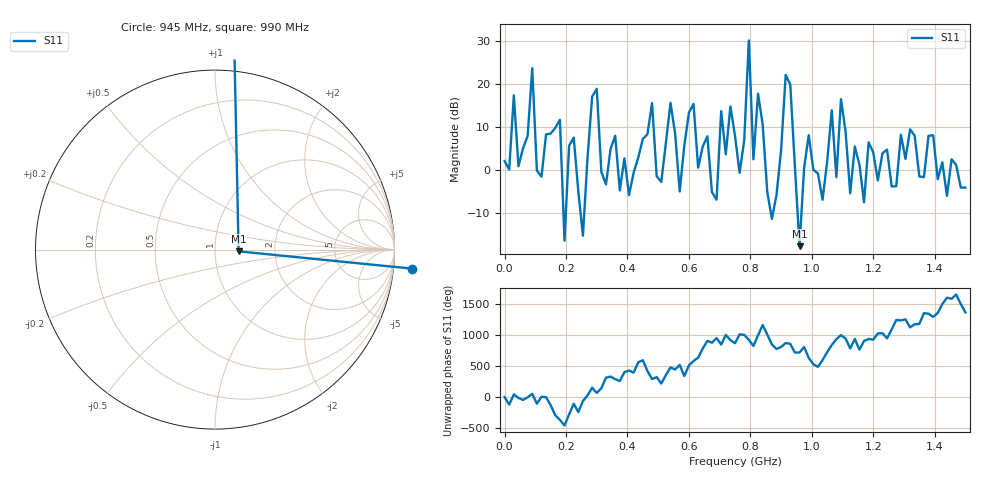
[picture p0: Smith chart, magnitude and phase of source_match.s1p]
! Created with skrf 1.8.0 (http://scikit-rf.org).
# Hz S RI R 50.0
!freq ReS11 ImS11
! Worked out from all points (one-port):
!   101 points, 50 kHz to 1.5 GHz, reference 50 ohm
!   lowest |S11| = -17.6 dB at 960 MHz (marker M1), VSWR 1.30, Z = 65.1 - j1.3 ohm
!   |S11| at or under -10 dB: 191.7 MHz to 199.4 MHz (7.695 MHz wide, 3.94 % of centre); 247.4 MHz to 259.3 MHz (11.87 MHz wide, 4.68 % of centre); 867 MHz to 873.5 MHz (6.466 MHz wide, 0.743 % of centre) (the widest 3 of 4)
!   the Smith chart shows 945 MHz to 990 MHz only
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50000  1.271 -0.1122
7.50475e7  2.472 -0.3748
9.0047e7  10.15 11.31
1.050465e8  -0.3624 -0.9274
1.950435e8  -0.036 -0.1483
2.70041e8  1.303 0.5299
2.850405e8  -6.021 3.809
3.0004e8  4.154 7.735
3.750375e8  -0.149 -0.5637
4.650345e8  1.47 2.165
4.80034e8  1.681 -5.767
5.40032e8  -2.521 5.477
5.70031e8  -0.5163 0.2355
7.50025e8  -2.067 1.395
7.80024e8  0.4504 -2.166
7.950235e8  -29.73 -11.47
8.10023e8  -0.268 1.312
8.250225e8  0.5748 -7.689
8.40022e8  0.6138 3.351
9.0002e8  0.1723 1.69
9.150195e8  -10.96 6.429
9.450185e8  1.099 -0.1062
9.60018e8  0.1316 -0.0098
1.065014e9  -2.352 4.342
1.095014e9  0.7331 -6.629
1.125012e9  0.2632 0.4723
1.320006e9  2.195 2.008
1.5e9  0.1642 -0.6078
